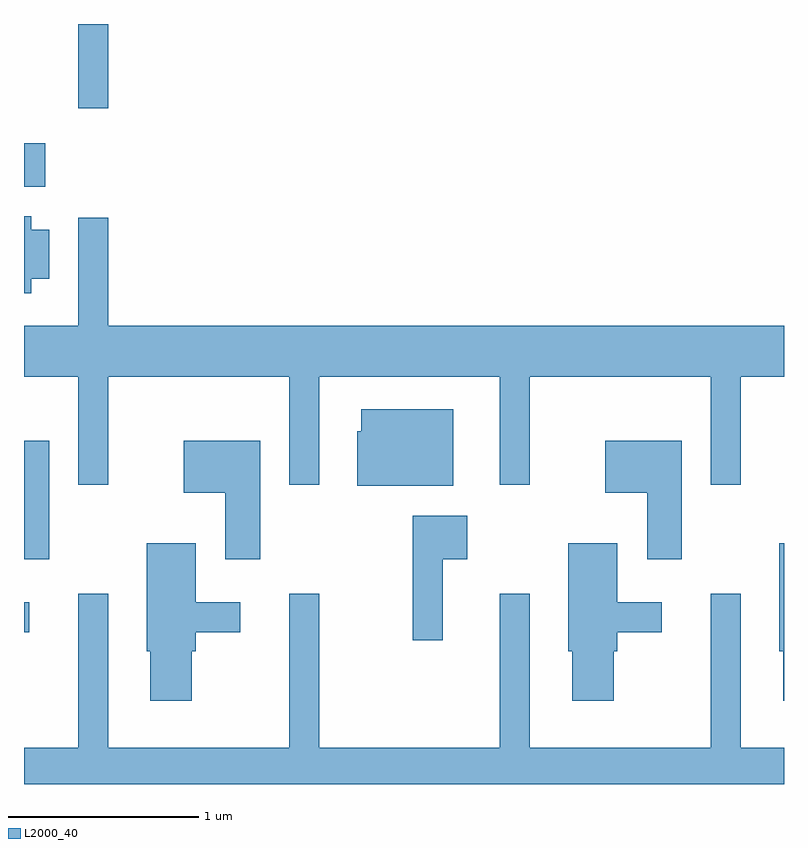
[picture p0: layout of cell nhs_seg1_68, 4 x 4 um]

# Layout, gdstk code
import gdstk
lib = gdstk.Library(unit=1e-6, precision=1e-09)
def R(c, l, rs):  # rectangles x0, y0, x1, y1
    for r in rs: c.add(gdstk.rectangle(r[:2], r[2:], *l))
def P(c, l, *ps):  # polygons
    for p in ps: c.add(gdstk.Polygon(p, *l))
L2000_40 = (2000, 40)

nhs_seg1_68 = lib.new_cell('nhs_seg1_68')
R(nhs_seg1_68, L2000_40, [(187.611,840.511,187.638,840.669), (187.611,840.896,187.744,841.519), (187.611,842.856,187.724,843.084), (187.896,843.268,188.054,843.712)])
P(nhs_seg1_68, L2000_40, [(187.649,842.371),(187.744,842.371),(187.744,842.629),(187.649,842.629),(187.649,842.699),(187.611,842.699),(187.611,842.296),(187.649,842.296)],
  [(188.054,841.856),(189.006,841.856),(189.006,841.288),(189.164,841.288),(189.164,841.856),(190.116,841.856),(190.116,841.288),(190.274,841.288),(190.274,841.856),(191.226,841.856),(191.226,841.288),(191.384,841.288),(191.384,841.856),(191.611,841.856),(191.611,842.124),(188.054,842.124),(188.054,842.693),(187.896,842.693),(187.896,842.124),(187.611,842.124),(187.611,841.856),(187.896,841.856),(187.896,841.288),(188.054,841.288)],
  [(189.869,841.684),(189.386,841.684),(189.386,841.569),(189.366,841.569),(189.366,841.281),(189.869,841.281)],
  [(188.854,841.519),(188.451,841.519),(188.451,841.246),(188.671,841.246),(188.671,840.896),(188.854,840.896)],
  [(191.074,841.519),(190.671,841.519),(190.671,841.246),(190.891,841.246),(190.891,840.896),(191.074,840.896)],
  [(189.814,840.896),(189.944,840.896),(189.944,841.124),(189.656,841.124),(189.656,840.468),(189.814,840.468)],
  [(190.714,840.411),(190.734,840.411),(190.734,840.511),(190.968,840.511),(190.968,840.669),(190.734,840.669),(190.734,840.979),(190.476,840.979),(190.476,840.411),(190.496,840.411),(190.496,840.151),(190.714,840.151)],
  [(191.611,840.979),(191.586,840.979),(191.586,840.411),(191.606,840.411),(191.606,840.151),(191.611,840.151)],
  [(188.494,840.411),(188.514,840.411),(188.514,840.511),(188.748,840.511),(188.748,840.669),(188.514,840.669),(188.514,840.979),(188.256,840.979),(188.256,840.411),(188.276,840.411),(188.276,840.151),(188.494,840.151)],
  [(191.611,839.904),(191.384,839.904),(191.384,840.713),(191.226,840.713),(191.226,839.904),(190.274,839.904),(190.274,840.713),(190.116,840.713),(190.116,839.904),(189.164,839.904),(189.164,840.713),(189.006,840.713),(189.006,839.904),(188.054,839.904),(188.054,840.713),(187.896,840.713),(187.896,839.904),(187.611,839.904),(187.611,839.712),(191.611,839.712)])

lib.write_gds('nhs_seg1_68.gds')
